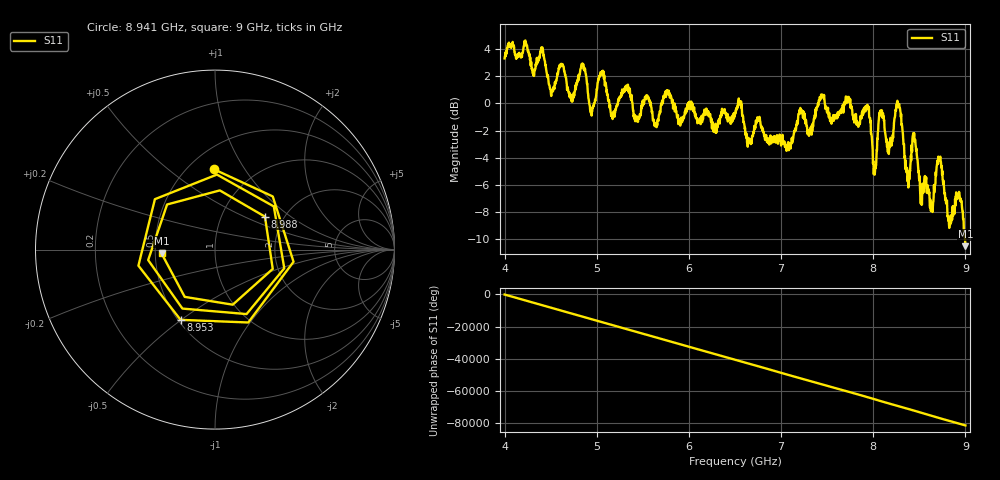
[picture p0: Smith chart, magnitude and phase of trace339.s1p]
! Created with skrf 1.8.0 (http://scikit-rf.org).
# Hz S RI R 50.0
!freq ReS11 ImS11
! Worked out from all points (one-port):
!   1601 points, 4 GHz to 9 GHz, reference 50 ohm
!   lowest |S11| = -10.5 dB at 9 GHz (marker M1), VSWR 1.85, Z = 27 - j1.26 ohm
!   |S11| at or under -10 dB: 8.995917 GHz to end of sweep
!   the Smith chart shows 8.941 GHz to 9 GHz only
!   S11 on the Smith chart (normalised r, x): 8.941 GHz: 0.66, +0.74; 8.953 GHz: 0.51, -0.50; 8.988 GHz: 1.60, +0.66; 9 GHz: 0.54, -0.03
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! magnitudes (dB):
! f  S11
! 4 GHz  3.3
! 4.409 GHz  4.1
! 4.516 GHz  0.9
! 4.625 GHz  2.8
! 4.731 GHz  0.4
! 4.856 GHz  2.8
! 4.941 GHz  -0.7
! 5.05 GHz  2.2
! 5.172 GHz  -1.2
! 5.25 GHz  0.4
! 5.875 GHz  -0.9
! 6.5 GHz  -0.7
! 7.125 GHz  -2.5
! 7.75 GHz  0.3
! 7.938 GHz  -0.1
! 8.016 GHz  -5.2
! 8.081 GHz  -0.9
! 8.175 GHz  -2.8
! 8.272 GHz  -0.2
! 8.375 GHz  -5.4
! 8.441 GHz  -2.5
! 8.628 GHz  -7.8
! 8.712 GHz  -4.1
! 8.831 GHz  -8.7
! 8.941 GHz  -7.0
! 8.953 GHz  -7.2
! 8.988 GHz  -9.5
! 9 GHz  -10.5
